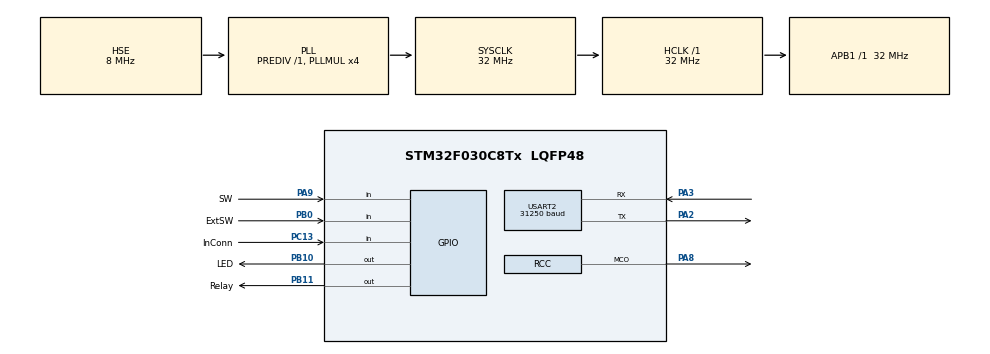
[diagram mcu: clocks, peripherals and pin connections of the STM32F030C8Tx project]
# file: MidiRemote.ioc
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Mcu.Family=STM32F0
Mcu.Name=STM32F030C8Tx
Mcu.Package=LQFP48
NVIC.USART2_IRQn=true\:0\:0\:false\:false\:true\:true\:true\:true
PA13.Mode=Serial_Wire
PA13.Signal=SYS_SWDIO
PA14.Mode=Serial_Wire
PA14.Signal=SYS_SWCLK
PA2.Mode=Asynchronous
PA2.Signal=USART2_TX
PA3.Mode=Asynchronous
PA3.Signal=USART2_RX
PA8.Mode=Clock-out
PA8.Signal=RCC_MCO
PA9.GPIO_Label=SW
PA9.Signal=GPIO_Input
PB0.GPIO_Label=ExtSW
PB0.Signal=GPIO_Input
PB10.GPIO_Label=LED
PB10.Signal=GPIO_Output
PB11.GPIO_Label=Relay
PB11.Signal=GPIO_Output
PC13.GPIO_Label=InConn
PC13.Signal=GPIO_Input
PF0-OSC_IN.Mode=HSE-External-Oscillator
PF0-OSC_IN.Signal=RCC_OSC_IN
PF1-OSC_OUT.Mode=HSE-External-Oscillator
PF1-OSC_OUT.Signal=RCC_OSC_OUT
ProjectManager.HeapSize=0x200
ProjectManager.StackSize=0x400
ProjectManager.TargetToolchain=STM32CubeIDE
RCC.AHBFreq_Value=32000000
RCC.APB1Freq_Value=32000000
RCC.APB1TimFreq_Value=32000000
RCC.HCLKFreq_Value=32000000
RCC.PLLMUL=RCC_PLL_MUL4
RCC.PLLSourceVirtual=RCC_PLLSOURCE_HSE
RCC.RCC_MCOSource=RCC_MCO1SOURCE_HSE
RCC.SYSCLKFreq_VALUE=32000000
RCC.SYSCLKSource=RCC_SYSCLKSOURCE_PLLCLK
USART2.BaudRate=31250
USART2.Mode=MODE_RX
USART2.VirtualMode-Asynchronous=VM_ASYNC
board=custom

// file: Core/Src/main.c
/* USER CODE BEGIN Header */
/**
 ******************************************************************************
 * @file           : main.c
 * @brief          : Main program body
 ******************************************************************************
 * @attention
 *
 * Copyright (c) 2025 STMicroelectronics.
 * Copyright (c) Roland Müller: roland.mueller.1994@gmx.de
 * All rights reserved.
 *
 * This software is licensed under terms that can be found in the LICENSE file
 * in the root directory of this software component.
 * If no LICENSE file comes with this software, it is provided AS-IS.
 *
 ******************************************************************************
 */
/* USER CODE END Header */
#include "main.h"
#include "midi.h"

/* USER CODE BEGIN Includes */
#include <stdbool.h>

/* USER CODE END Includes */

/* USER CODE BEGIN PD */

// Main loop delay of 1ms
#define LOOP_DELAY 1
// Switch debounce delay in ms
#define DEBOUNCE_DELAY 5
#define LONG_DELAY 250
// Number of switches
#define NO_SWITCHES 3

// MIDI
#define MIDI_CHANNEL 0
#define MIDI_CONTROL 20

// Flash
#define FLASH_START_ADDR 0x0800FC00

/* USER CODE END PD */

UART_HandleTypeDef huart2;

/* USER CODE BEGIN PV */

// Array to store switches state change flags
bool swEdgesPush[NO_SWITCHES];
bool swEdgesRelease[NO_SWITCHES];

// Array to store switches states
bool swStates[NO_SWITCHES];
bool swLongState[NO_SWITCHES];
bool swLongRelease[NO_SWITCHES];

// Array for debounce counters and flags
uint8_t swCount[NO_SWITCHES];
bool swDoCount[NO_SWITCHES];
uint16_t swLongCount[NO_SWITCHES];

// Array stating the GPIOs used for switches
GPIO_TypeDef *switchBank[NO_SWITCHES] = { GPIOA, GPIOB, GPIOC };
uint16_t switches[NO_SWITCHES] = { SW_Pin, ExtSW_Pin, InConn_Pin };

// Array stating which switches are latched and which are momentary switches
// false 	-> momentary
// true 	-> latched
bool swLatches[NO_SWITCHES] = { false, true, true };

// Effect on flag
bool effectOn = false;

// Midi Learn
bool midiLearn = false;

// Midi
struct midiMsg msg;
bool uartError = false;

/* USER CODE END PV */

void SystemClock_Config(void);
static void MX_GPIO_Init(void);
static void MX_USART2_UART_Init(void);

/* USER CODE BEGIN 0 */

void readSwitches() {
	/*
	 * This function reads and traces the state of the external switches and implements debouncing.
	 *
	 * Debounce time: LOOP_DELAY * DEBOUNCE_DELAY
	 * Long press time: LOOP_DELAY * (DEBOUNCE_DELAY + LONG_DELAY)
	 *
	 * Current state of the switches is stored in swStates
	 * Edge detection is stored in swEdgesPush and swEdgesRelease
	 * Long pressed switch states for momentary switches (swLatches[i] == false) is stored in swLongState.
	 * Release of long pressed switches is stored in swLongRelease
	 *
	 * swEdgesPush, swEdgesRelease and swLongRelease are cleared at each call of this function.
	 */

	for (int i = 0; i < NO_SWITCHES; i++) {
		GPIO_PinState pinState = HAL_GPIO_ReadPin(switchBank[i], switches[i]);

		swEdgesPush[i] = false;
		swEdgesRelease[i] = false;
		swLongRelease[i] = false;

		/*
		 * Debouncing starts once the GPIO state is uneqaul to the state traced in swStates.
		 * This is done such that both edges can be detected
		 * Switches are low active
		 */
		if (pinState == GPIO_PIN_SET && swStates[i]) {
			// Switch open
			if (!swDoCount[i]) {
				// Start debounce
				swDoCount[i] = true;
			} else {
				/* If we are in debouncing state, we will count till DEBOUNCE_DELAY is reached.
				 * Afterwards, we will set the edge flag and in the next call we will set the state */
				if (swCount[i] == DEBOUNCE_DELAY) {
					swEdgesRelease[i] = true;
					swCount[i]++;
				} else if (swCount[i] == DEBOUNCE_DELAY + 1) {
					swDoCount[i] = false;
					swStates[i] = false;
					swCount[i] = 0;
				} else {
					swCount[i]++;
				}
			}
		} else if (pinState == GPIO_PIN_RESET && !swStates[i]) {
			// Switch closed
			if (!swDoCount[i]) {
				// Start debounce
				swDoCount[i] = true;
			} else {
				/* If we are in debouncing state, we will count till DEBOUNCE_DELAY is reached.
				 * Afterwards, we will set the edge flag and in the next call we will set the state */
				if (swCount[i] == DEBOUNCE_DELAY) {
					swEdgesPush[i] = true;
					swCount[i]++;
				} else if (swCount[i] == DEBOUNCE_DELAY + 1) {
					swDoCount[i] = false;
					swStates[i] = true;
					swCount[i] = 0;
				} else {
					swCount[i]++;
				}
			}
		} else {
			swDoCount[i] = false;
			swCount[i] = 0;
		}

		/* Once the state of a momentary switch is pressed, we will start counting for long press detection */
		if (swStates[i] && !swLatches[i]) {
			if (swLongCount[i] < LONG_DELAY) {
				swLongCount[i]++;
			} else if (swLongCount[i] == LONG_DELAY) {
				swLongState[i] = true;
				swLongCount[i]++;
			}
		} else if (!swLatches[i]) {
			if (swLongState[i]) {
				swLongRelease[i] = true;
			}
			swLongState[i] = false;
			swLongCount[i] = 0;
		}
	}
}

void updateState() {
	/*
	 * This function checks the switch states and update the effects on flag accordingly.
	 * Further, we check if we should get into midi learn once main switch is pressed long enough
	 * and the input jack is not connected.
	 */

	bool swLong = false;
	bool swPushEdge = false;
	bool inConn = false;
	for (int i = 0; i < NO_SWITCHES; i++) {
		if ((switches[i] == SW_Pin) && swEdgesPush[i]) {
			if (!midiLearn)
				effectOn = !effectOn;
			swPushEdge = true;
		} else if ((switches[i] == SW_Pin) && swLongRelease[i] && effectOn) {
			if (!midiLearn)
				effectOn = false;
		} else if (switches[i] == ExtSW_Pin && !effectOn) {
			if (swEdgesPush[i])
				effectOn = true;
			else if (swEdgesRelease[i])
				effectOn = false;
		}

		if (!midiLearn) {
			if (switches[i] == SW_Pin && swLongState[i])
				swLong = true;
			else if (switches[i] == InConn_Pin && swStates[i])
				inConn = true;
		}
	}

	if (swLong && inConn) {
		midiLearn = true;
		effectOn = false;
	} else if (midiLearn && swPushEdge) {
		midiLearn = false;
	}
}

void saveChannelControlFlash(uint8_t channel, uint8_t control) {
	/*
	 * Write current channel and controller number to flash after midi learn.
	 */

	HAL_FLASH_Unlock();
	FLASH_EraseInitTypeDef EraseInitStruct;
	EraseInitStruct.TypeErase = FLASH_TYPEERASE_PAGES;
	EraseInitStruct.PageAddress = FLASH_START_ADDR;
	EraseInitStruct.NbPages = 1;

	uint32_t PageError;
	if (HAL_FLASHEx_Erase(&EraseInitStruct, &PageError) != HAL_OK) { //Erase the Page Before a Write Operation
		HAL_FLASH_Lock();
		return;
	}

	HAL_Delay(50);
	HAL_FLASH_Program(FLASH_TYPEPROGRAM_WORD, FLASH_START_ADDR,
			(uint64_t) channel);
	HAL_Delay(50);
	HAL_FLASH_Program(FLASH_TYPEPROGRAM_WORD, FLASH_START_ADDR + 4,
			(uint64_t) control);
	HAL_Delay(50);
	HAL_FLASH_Lock();
}

void startUartInterrupts(uint8_t *buffer) {
	HAL_StatusTypeDef status = HAL_UARTEx_ReceiveToIdle_IT(&huart2, buffer, 3);
	if (status != HAL_OK || (huart2.Instance->ISR & (1 << 3))) {
		uartError = true;
	} else {
		uartError = false;
	}
}

/* USER CODE END 0 */

int main(void) {

	/* MCU Configuration--------------------------------------------------------*/

	/* Reset of all peripherals, Initializes the Flash interface and the Systick. */
	HAL_Init();

	/* Configure the system clock */
	SystemClock_Config();

	/* USER CODE BEGIN SysInit */

	// Reset switch arrays
	for (int i = 0; i < NO_SWITCHES; i++) {
		swEdgesPush[i] = false;
		swEdgesRelease[i] = false;
		swStates[i] = false;
		swLongState[i] = false;
		swLongRelease[i] = false;
		swCount[i] = 0;
		swLongCount[i] = 0;
		swDoCount[i] = false;
	}

	// Initialize midi ring buffer
	midiInit();

	/* USER CODE END SysInit */

	/* Initialize all configured peripherals */
	MX_GPIO_Init();
	MX_USART2_UART_Init();
	/* USER CODE BEGIN 2 */

	bool reset = true;

	// Check if main switch is pressed at startup. If yes, reset midi channel and controller.
	for (int i = 0; i < 20; i++) {
		if (HAL_GPIO_ReadPin(GPIOA, SW_Pin) == GPIO_PIN_SET) {
			reset = false;
			break;
		}
		HAL_Delay(100);
	}

	uint8_t channel, control;
	if (reset) {
		saveChannelControlFlash(MIDI_CHANNEL, MIDI_CONTROL);
		uint16_t blinkCount = 0;
		// Let LED blink to tell user about the reset.
		for (uint8_t i = 0; i < 4;) {
			HAL_GPIO_WritePin(GPIOB, LED_Pin,
					blinkCount % 2 == 0 ? GPIO_PIN_SET : GPIO_PIN_RESET);
			HAL_Delay(250);
			// Wait till main switch is release to not get into midi learn immediately
			if (HAL_GPIO_ReadPin(GPIOA, SW_Pin) == GPIO_PIN_SET)
				i++;
			blinkCount++;
		}
		channel = MIDI_CHANNEL;
		control = MIDI_CONTROL;
	} else {
		// Read stored midi controller and channel from flash
		channel = (uint8_t) *(__IO uint32_t*) FLASH_START_ADDR;
		control = (uint8_t) *(__IO uint32_t*) (FLASH_START_ADDR + 0x4);
	}

	startUartInterrupts(midiGetCurrentBuffer());

	/* USER CODE END 2 */

	/* Infinite loop */
	/* USER CODE BEGIN WHILE */
	int loopCount = 0;
	while (1) {
		readSwitches();
		updateState();

		// Periodic UART error and overrun check. In case error or overrun was detected, restart the interrupt.
		if (uartError || (huart2.Instance->ISR & (1 << 3))) {
			startUartInterrupts(midiGetCurrentBuffer());
		}

		// Effect on or off
		HAL_GPIO_WritePin(GPIOB, Relay_Pin,
				effectOn & !midiLearn ? GPIO_PIN_SET : GPIO_PIN_RESET);

		// LED blink in case of midi learn or just display on/off state
		if (midiLearn && loopCount == (500 / LOOP_DELAY)) {
			HAL_GPIO_TogglePin(GPIOB, LED_Pin);
			loopCount = 0;
		} else if (!midiLearn) {
			HAL_GPIO_WritePin(GPIOB, LED_Pin,
					effectOn ? GPIO_PIN_SET : GPIO_PIN_RESET);
		}

		do {
			// Check if there are any new midi messages.
			midiGetMessage(&msg);
			if (midiLearn) {
				// If we are in midi learn state, check the latest message and store its channel and controller if it was a CC message
				loopCount += 1;
				if (msg.msgType == MIDI_CC) {
					channel = msg.channel;
					control = msg.val1;
					saveChannelControlFlash(channel, control);
					midiLearn = false;
					loopCount = 0;
				}
			} else if (msg.msgType == MIDI_CC) {
				// Switch effect on or off
				if (msg.channel == channel && msg.val1 == control)
					effectOn = msg.val2 > 63;
			}
		} while (msg.msgType != MIDI_NA);

		HAL_Delay(LOOP_DELAY);

		/* USER CODE END WHILE */

	}
}

void SystemClock_Config(void) {
	RCC_OscInitTypeDef RCC_OscInitStruct = { 0 };
	RCC_ClkInitTypeDef RCC_ClkInitStruct = { 0 };

	/** Initializes the RCC Oscillators according to the specified parameters
	 * in the RCC_OscInitTypeDef structure.
	 */
	RCC_OscInitStruct.OscillatorType = RCC_OSCILLATORTYPE_HSE;
	RCC_OscInitStruct.HSEState = RCC_HSE_ON;
	RCC_OscInitStruct.PLL.PLLState = RCC_PLL_ON;
	RCC_OscInitStruct.PLL.PLLSource = RCC_PLLSOURCE_HSE;
	RCC_OscInitStruct.PLL.PLLMUL = RCC_PLL_MUL4;
	RCC_OscInitStruct.PLL.PREDIV = RCC_PREDIV_DIV1;
	if (HAL_RCC_OscConfig(&RCC_OscInitStruct) != HAL_OK) {
		Error_Handler();
	}

	/** Initializes the CPU, AHB and APB buses clocks
	 */
	RCC_ClkInitStruct.ClockType = RCC_CLOCKTYPE_HCLK | RCC_CLOCKTYPE_SYSCLK
			| RCC_CLOCKTYPE_PCLK1;
	RCC_ClkInitStruct.SYSCLKSource = RCC_SYSCLKSOURCE_PLLCLK;
	RCC_ClkInitStruct.AHBCLKDivider = RCC_SYSCLK_DIV1;
	RCC_ClkInitStruct.APB1CLKDivider = RCC_HCLK_DIV1;

	if (HAL_RCC_ClockConfig(&RCC_ClkInitStruct, FLASH_LATENCY_1) != HAL_OK) {
		Error_Handler();
	}
	HAL_RCC_MCOConfig(RCC_MCO, RCC_MCO1SOURCE_HSE, RCC_MCODIV_1);
}

static void MX_USART2_UART_Init(void) {

	huart2.Instance = USART2;
	huart2.Init.BaudRate = 31250;
	huart2.Init.WordLength = UART_WORDLENGTH_8B;
	huart2.Init.StopBits = UART_STOPBITS_1;
	huart2.Init.Parity = UART_PARITY_NONE;
	huart2.Init.Mode = UART_MODE_RX;
	huart2.Init.HwFlowCtl = UART_HWCONTROL_NONE;
	huart2.Init.OverSampling = UART_OVERSAMPLING_16;
	huart2.Init.OneBitSampling = UART_ONE_BIT_SAMPLE_DISABLE;
	huart2.AdvancedInit.AdvFeatureInit = UART_ADVFEATURE_NO_INIT;
	if (HAL_UART_Init(&huart2) != HAL_OK) {
		Error_Handler();
	}

}

static void MX_GPIO_Init(void) {
	GPIO_InitTypeDef GPIO_InitStruct = { 0 };

	/* GPIO Ports Clock Enable */
	__HAL_RCC_GPIOC_CLK_ENABLE();
	__HAL_RCC_GPIOF_CLK_ENABLE();
	__HAL_RCC_GPIOA_CLK_ENABLE();
	__HAL_RCC_GPIOB_CLK_ENABLE();

	/*Configure GPIO pin Output Level */
	HAL_GPIO_WritePin(GPIOB, LED_Pin | Relay_Pin, GPIO_PIN_RESET);

	/*Configure GPIO pin : InConn_Pin */
	GPIO_InitStruct.Pin = InConn_Pin;
	GPIO_InitStruct.Mode = GPIO_MODE_INPUT;
	GPIO_InitStruct.Pull = GPIO_NOPULL;
	HAL_GPIO_Init(InConn_GPIO_Port, &GPIO_InitStruct);

	/*Configure GPIO pin : ExtSW_Pin */
	GPIO_InitStruct.Pin = ExtSW_Pin;
	GPIO_InitStruct.Mode = GPIO_MODE_INPUT;
	GPIO_InitStruct.Pull = GPIO_NOPULL;
	HAL_GPIO_Init(ExtSW_GPIO_Port, &GPIO_InitStruct);

	/*Configure GPIO pins : LED_Pin Relay_Pin */
	GPIO_InitStruct.Pin = LED_Pin | Relay_Pin;
	GPIO_InitStruct.Mode = GPIO_MODE_OUTPUT_PP;
	GPIO_InitStruct.Pull = GPIO_NOPULL;
	GPIO_InitStruct.Speed = GPIO_SPEED_FREQ_LOW;
	HAL_GPIO_Init(GPIOB, &GPIO_InitStruct);

	/*Configure GPIO pin : PA8 */
	GPIO_InitStruct.Pin = GPIO_PIN_8;
	GPIO_InitStruct.Mode = GPIO_MODE_AF_PP;
	GPIO_InitStruct.Pull = GPIO_NOPULL;
	GPIO_InitStruct.Speed = GPIO_SPEED_FREQ_LOW;
	GPIO_InitStruct.Alternate = GPIO_AF0_MCO;
	HAL_GPIO_Init(GPIOA, &GPIO_InitStruct);

	/*Configure GPIO pin : SW_Pin */
	GPIO_InitStruct.Pin = SW_Pin;
	GPIO_InitStruct.Mode = GPIO_MODE_INPUT;
	GPIO_InitStruct.Pull = GPIO_NOPULL;
	HAL_GPIO_Init(SW_GPIO_Port, &GPIO_InitStruct);

}

/* USER CODE BEGIN 4 */

void HAL_UARTEx_RxEventCallback(UART_HandleTypeDef *huart, uint16_t size) {
	uint8_t *buffer = midiMessageReceived();
	startUartInterrupts(buffer);
}

/* USER CODE END 4 */

void Error_Handler(void) {
	__disable_irq();
	while (1) {
	}
}
